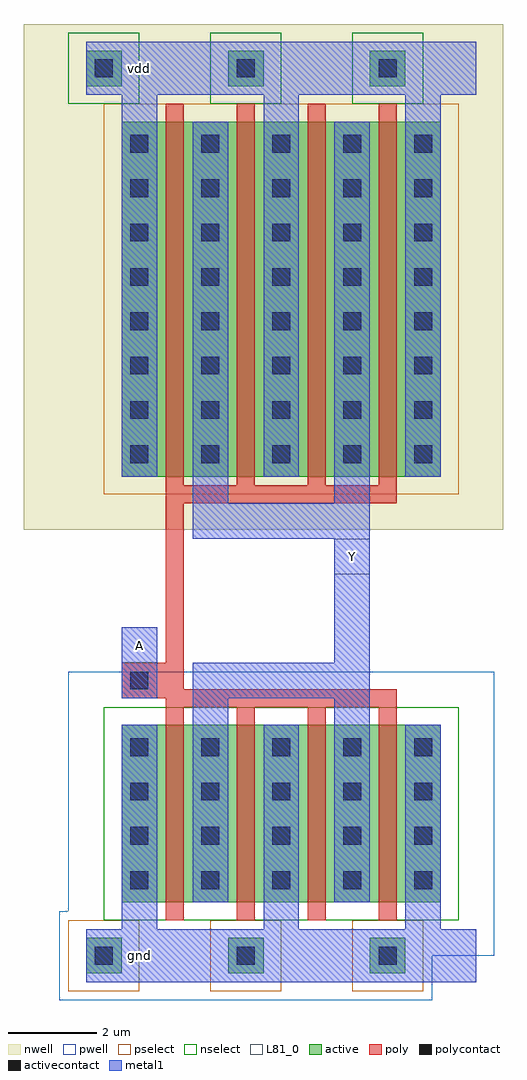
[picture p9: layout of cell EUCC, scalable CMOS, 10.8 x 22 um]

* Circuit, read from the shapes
.subckt EUCC A Y gnd vdd
M1 Y A gnd gnd nfet w=4u l=0.4u m=4
M2 Y A vdd vdd pfet w=8u l=0.4u m=4
.ends

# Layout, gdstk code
import gdstk
lib = gdstk.Library(unit=1e-6, precision=1e-09)
def R(c, l, rs):  # rectangles x0, y0, x1, y1
    for r in rs: c.add(gdstk.rectangle(r[:2], r[2:], *l))
def A(c, l, x, y, w, h, nx, ny, dx, dy):  # array of equal rectangles
    R(c, l, [(x+i*dx, y+j*dy, x+i*dx+w, y+j*dy+h) for i in range(nx) for j in range(ny)])
pwell = (41, 0)
nwell = (42, 0)
active = (43, 0)
pselect = (44, 0)
nselect = (45, 0)
poly = (46, 0)
polycontact = (47, 0)
activecontact = (48, 0)
metal1 = (49, 0)
L81_0 = (81, 0)

eucc = lib.new_cell('EUCC')
R(eucc, pwell, [(-1,-1,7.4,0), (-1,0,8.8,1), (-0.8,1,8.8,6.4)])
R(eucc, nwell, [(-1.8,9.6,9,21)])
A(eucc, active, -0.4, -0.4, 0.8, 0.8, 3, 2, 3.2, 20)
R(eucc, active, [(0.4,1.2,7.6,5.2), (0.4,10.8,7.6,18.8)])
A(eucc, pselect, -0.8, -0.8, 1.6, 1.6, 3, 1, 3.2, 0)
R(eucc, pselect, [(0,10.4,8,19.2)])
A(eucc, nselect, -0.8, 19.2, 1.6, 1.6, 3, 1, 3.2, 0)
R(eucc, nselect, [(0,0.8,8,5.6)])
A(eucc, poly, 1.4, 0.8, 0.4, 4.8, 4, 1, 1.6, 0)
A(eucc, poly, 1.4, 10.6, 0.4, 8.6, 4, 1, 1.6, 0)
R(eucc, poly, [(1.4,5.6,6.6,5.8), (0.4,5.8,6.6,6), (0.4,6,1.8,6.6), (1.4,6.6,1.8,10.2), (1.4,10.2,6.6,10.6)])
R(eucc, polycontact, [(0.6,6,1,6.4)])
A(eucc, activecontact, -0.2, -0.2, 0.4, 0.4, 3, 2, 3.2, 20)
A(eucc, activecontact, 0.6, 1.5, 0.4, 0.4, 5, 4, 1.6, 1)
A(eucc, activecontact, 0.6, 11.1, 0.4, 0.4, 5, 8, 1.6, 1)
A(eucc, metal1, 0.4, 0.6, 0.8, 4.6, 3, 1, 3.2, 0)
A(eucc, metal1, 0.4, 10.8, 0.8, 8.6, 3, 1, 3.2, 0)
R(eucc, metal1, [(-0.4,-0.6,8.4,0.6), (2,1.2,2.8,5.8), (5.2,1.2,6,5.8), (0.4,5.8,1.2,7.4), (2,5.8,6,6.6), (5.2,6.6,6,9.4), (2,9.4,6,10.2), (2,10.2,2.8,18.8), (5.2,10.2,6,18.8), (-0.4,19.4,8.4,20.6)])
R(eucc, L81_0, [(0.4,6.6,1.2,7.4), (5.2,8.6,6,9.4)])
eucc.add(gdstk.Label('vdd', (0.8,20), layer=49, texttype=0))
eucc.add(gdstk.Label('gnd', (0.8,0), layer=49, texttype=0))
eucc.add(gdstk.Label('A', (0.8,7), layer=49, texttype=0))
eucc.add(gdstk.Label('Y', (5.6,9), layer=49, texttype=0))

lib.write_gds('EUCC.gds')
